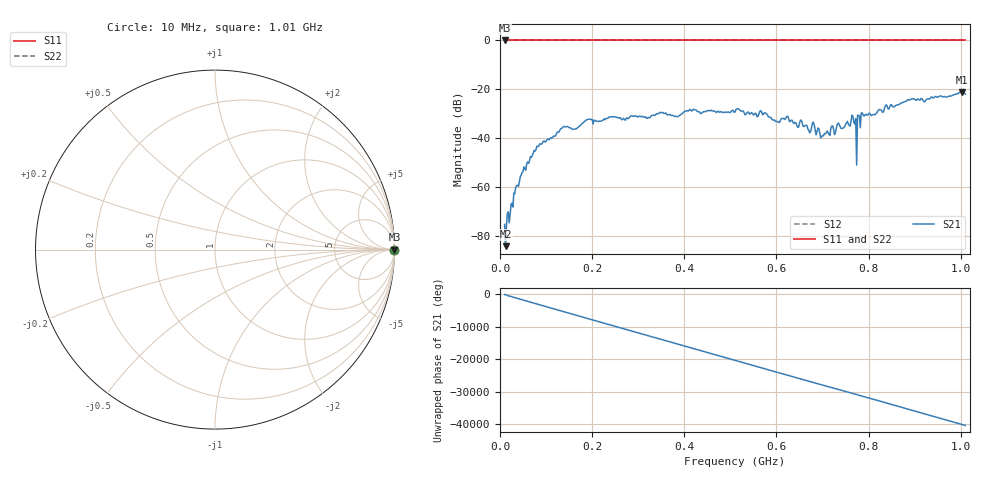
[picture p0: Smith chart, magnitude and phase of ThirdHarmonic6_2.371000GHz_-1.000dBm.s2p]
! 8/17/2025 3:42:46 AM
! C:\ANRITSUVNA\TEMP\TEMP.S2P
! CHANNEL.1
! TR.MEASUREMENT
! RAW.DATA
! RF.CORRECTION.OFF
! AVERAGING.OFF
! IF.BANDWIDTH: 5KHZ
! SWEEPTYPE:  FREQ.SWEEP(Linear)
! Reference Plane Port Info
! PORT:  PORT1  PORT2
! DISTANCE:  0  m  0  m
! TIME:  0  s  0  s
! PHASE.OFFSET:  0  deg.  0  deg.
! LOSS:  0  dB  0  dB
! REF.LOSS:  0  dB  0  dB
! REF.FREQ:  0  Hz  0  Hz
! Power Info
! POWER:  -20  dBm  -20  dBm
! EFF.POWER:  -20  dBm  -20  dBm
! SOURCE.ATTEN:  0  dB  0  dB
! TEST.ATTEN:  0  dB  0  dB
# GHZ S RI R 50.0
! FREQ.GHZ  S11RE  S11IM  S21RE  S21IM  S12RE  S12IM  S22RE  S22IM
!; PortSelection: Port_12
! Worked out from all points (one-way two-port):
!   501 points, 10 MHz to 1.01 GHz, reference 50 ohm
!   highest |S21| = -21.15 dB at 1.002 GHz (marker M1); lowest = -84.1 dB at 12 MHz (marker M2)
!   lowest |S11| = 0.0 dB at 10 MHz (marker M3)
!   |S11| at or under -10 dB: nowhere
!   |S22| runs from 0.0 to 0.0 dB; largest |S21 - S12| = 1.1
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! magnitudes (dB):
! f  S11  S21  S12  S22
! 10 MHz  0.0  -75.2  0.0  0.0
! 12 MHz  0.0  -84.1  0.0  0.0
! 48 MHz  0.0  -54.0  0.0  0.0
! 78 MHz  0.0  -44.7  0.0  0.0
! 136 MHz  0.0  -35.6  0.0  0.0
! 178 MHz  0.0  -33.9  0.0  0.0
! 344 MHz  0.0  -29.9  0.0  0.0
! 510 MHz  0.0  -29.2  0.0  0.0
! 568 MHz  0.0  -29.4  0.0  0.0
! 602 MHz  0.0  -33.2  0.0  0.0
! 622 MHz  0.0  -31.2  0.0  0.0
! 672 MHz  0.0  -37.7  0.0  0.0
! 678 MHz  0.0  -33.9  0.0  0.0
! 700 MHz  0.0  -38.9  0.0  0.0
! 768 MHz  0.0  -33.5  0.0  0.0
! 770 MHz  0.0  -34.2  0.0  0.0
! 778 MHz  0.0  -30.7  0.0  0.0
! 780 MHz  0.0  -30.8  0.0  0.0
! 788 MHz  0.0  -30.4  0.0  0.0
! 844 MHz  0.0  -28.0  0.0  0.0
! 1.002 GHz  0.0  -21.2  0.0  0.0
! 1.01 GHz  0.0  -21.9  0.0  0.0
